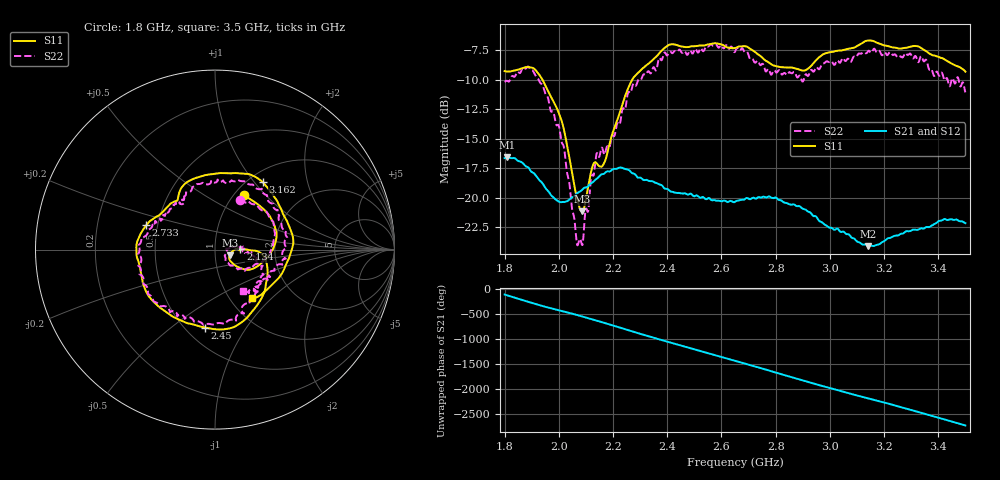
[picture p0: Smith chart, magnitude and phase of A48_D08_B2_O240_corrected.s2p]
! Created with skrf 1.9.0 (http://scikit-rf.org).
# Hz S RI R 50.0
!freq ReS11 ImS11 ReS21 ImS21 ReS12 ImS12 ReS22 ImS22
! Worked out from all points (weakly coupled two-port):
!   1601 points, 1.8 GHz to 3.5 GHz, reference 50 ohm
!   highest |S21| = -16.57 dB at 1.811 GHz (marker M1); lowest = -24.1 dB at 3.142 GHz (marker M2)
!   lowest |S11| = -21.1 dB at 2.086 GHz (marker M3), VSWR 1.19, Z = 58.8 - j3.64 ohm
!   |S11| at or under -10 dB: 1.94 GHz to 2.271 GHz (331 MHz wide, 15.7 % of centre)
!   |S22| runs from -24.0 to -7.0 dB; largest |S21 - S12| = 0.0028
!   S11 on the Smith chart (normalised r, x): 1.8 GHz: 1.11, +0.76; 2.134 GHz: 1.33, +0.00; 2.45 GHz: 0.62, -0.67; 2.733 GHz: 0.43, +0.14; 3.162 GHz: 1.16, +1.11; 3.5 GHz: 1.26, -0.77
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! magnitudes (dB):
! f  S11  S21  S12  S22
! 1.8 GHz  -9.3  -16.6  -16.6  -10.2
! 1.811 GHz  -9.3  -16.6  -16.6  -10.1
! 1.886 GHz  -8.9  -17.4  -17.5  -8.9
! 1.94 GHz  -10.0  -18.8  -18.8  -10.5
! 2.01 GHz  -13.5  -20.4  -20.3  -15.3
! 2.065 GHz  -19.8  -19.7  -19.7  -23.5
! 2.084 GHz  -21.1  -19.4  -19.3  -23.9
! 2.086 GHz  -21.1  -19.3  -19.3  -24.0
! 2.134 GHz  -17.0  -18.5  -18.5  -17.2
! 2.168 GHz  -17.0  -17.9  -18.0  -16.3
! 2.271 GHz  -10.0  -17.9  -17.9  -10.6
! 2.367 GHz  -7.8  -18.8  -18.8  -8.3
! 2.45 GHz  -7.2  -19.6  -19.6  -7.6
! 2.65 GHz  -7.3  -20.3  -20.3  -7.6
! 2.733 GHz  -7.8  -20.0  -20.0  -8.4
! 2.899 GHz  -9.2  -20.9  -20.9  -10.2
! 2.934 GHz  -8.8  -21.4  -21.4  -9.2
! 3.142 GHz  -6.7  -24.1  -24.0  -7.6
! 3.162 GHz  -6.7  -24.1  -24.0  -7.4
! 3.217 GHz  -7.2  -23.4  -23.4  -7.8
! 3.342 GHz  -7.4  -22.6  -22.6  -8.2
! 3.5 GHz  -9.3  -22.1  -22.1  -11.1
